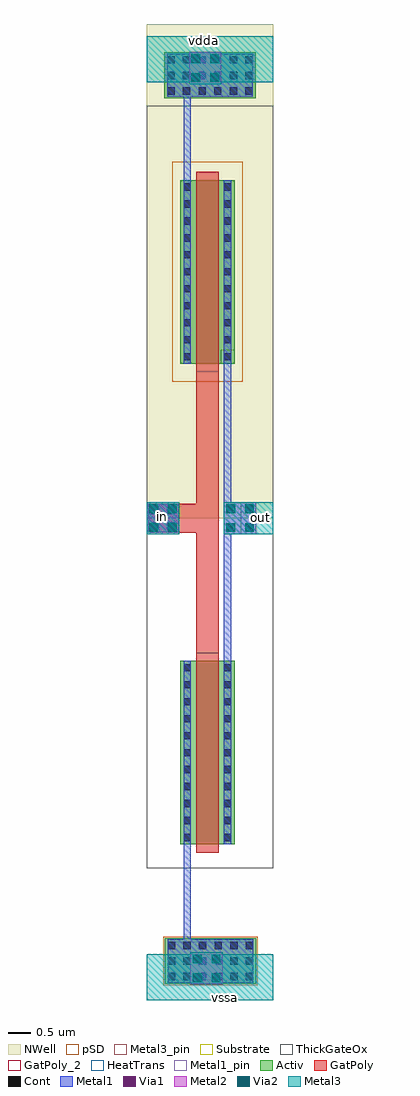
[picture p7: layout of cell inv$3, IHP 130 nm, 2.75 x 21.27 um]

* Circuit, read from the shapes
.subckt inv$3 in out vdda vssa
XM1 out in vssa vssa sg13_hv_nmos w=4u l=0.5u
XM2 out in vdda vdda sg13_hv_pmos w=4u l=0.5u
.ends

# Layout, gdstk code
import gdstk
lib = gdstk.Library(unit=1e-6, precision=1e-09)
def R(c, l, rs):  # rectangles x0, y0, x1, y1
    for r in rs: c.add(gdstk.rectangle(r[:2], r[2:], *l))
def A(c, l, x, y, w, h, nx, ny, dx, dy):  # array of equal rectangles
    R(c, l, [(x+i*dx, y+j*dy, x+i*dx+w, y+j*dy+h) for i in range(nx) for j in range(ny)])
Activ = (1, 0)
GatPoly = (5, 0)
GatPoly_2 = (5, 2)
Cont = (6, 0)
Metal1 = (8, 0)
Metal1_pin = (8, 2)
Metal2 = (10, 0)
pSD = (14, 0)
Via1 = (19, 0)
Via2 = (29, 0)
Metal3 = (30, 0)
Metal3_pin = (30, 2)
NWell = (31, 0)
Substrate = (40, 0)
ThickGateOx = (44, 0)
HeatTrans = (51, 0)

pmoshv_8 = lib.new_cell('pmosHV$8')
R(pmoshv_8, Activ, [(0,0,0.3,0.3), (0,0,1.18,4), (0.88,0,1.18,0.3)])
R(pmoshv_8, GatPoly, [(0.34,-0.18,0.84,4.18)])
R(pmoshv_8, GatPoly_2, [(0.34,-0.18,0.84,4.18)])
A(pmoshv_8, Cont, 0.07, 0.07, 0.16, 0.16, 1, 11, 0, 0.37)
A(pmoshv_8, Cont, 0.95, 0.07, 0.16, 0.16, 1, 11, 0, 0.37)
R(pmoshv_8, Metal1, [(0.07,0,0.23,4), (0.95,0,1.11,4)])
R(pmoshv_8, Metal1_pin, [(0.07,0,0.23,4), (0.95,0,1.11,4)])
R(pmoshv_8, pSD, [(-0.18,-0.4,1.36,4.4)])
R(pmoshv_8, NWell, [(-0.62,-0.62,1.8,4.62)])
R(pmoshv_8, Substrate, [(0.88,0,1.18,0.3)])
R(pmoshv_8, ThickGateOx, [(-0.62,-0.62,1.8,4.62)])
R(pmoshv_8, HeatTrans, [(0.34,-0.18,0.84,4.18)])
pmoshv_8.add(gdstk.Label('pmosHV', (0.59,2), layer=63, texttype=0))
pmoshv_8.add(gdstk.Label('pmos', (0.59,2), layer=51, texttype=0))

via_stack_14_1 = lib.new_cell('via_stack$14$1')
R(via_stack_14_1, GatPoly, [(-0.32,-0.32,0.32,0.32)])
R(via_stack_14_1, Cont, [(-0.25,-0.25,-0.09,-0.09), (0.09,-0.25,0.25,-0.09), (-0.25,0.09,-0.09,0.25), (0.09,0.09,0.25,0.25)])
R(via_stack_14_1, Metal1, [(-0.35,-0.31,0.35,0.31)])
R(via_stack_14_1, Metal2, [(-0.35,-0.305,0.35,0.305)])
R(via_stack_14_1, Via1, [(-0.3,-0.3,-0.11,-0.11), (0.11,-0.3,0.3,-0.11), (-0.3,0.11,-0.11,0.3), (0.11,0.11,0.3,0.3)])
R(via_stack_14_1, Via2, [(-0.3,-0.3,-0.11,-0.11), (0.11,-0.3,0.3,-0.11), (-0.3,0.11,-0.11,0.3), (0.11,0.11,0.3,0.3)])
R(via_stack_14_1, Metal3, [(-0.35,-0.305,0.35,0.305)])

via_stack_17 = lib.new_cell('via_stack$17')
R(via_stack_17, Metal1, [(-0.35,-0.35,0.35,0.35)])
R(via_stack_17, Metal2, [(-0.35,-0.35,0.35,0.35)])
R(via_stack_17, Via1, [(-0.3,-0.3,-0.11,-0.11), (0.11,-0.3,0.3,-0.11), (-0.3,0.11,-0.11,0.3), (0.11,0.11,0.3,0.3)])
R(via_stack_17, Via2, [(-0.3,-0.3,-0.11,-0.11), (0.11,-0.3,0.3,-0.11), (-0.3,0.11,-0.11,0.3), (0.11,0.11,0.3,0.3)])
R(via_stack_17, Metal3, [(-0.35,-0.35,0.35,0.35)])

ntap1_5 = lib.new_cell('ntap1$5')
R(ntap1_5, Activ, [(0,0,2,1)])
A(ntap1_5, Cont, 0.07, 0.08, 0.16, 0.16, 6, 3, 0.34, 0.34)
R(ntap1_5, Metal1, [(0.07,0.03,1.93,0.97)])
R(ntap1_5, Metal1_pin, [(0.07,0.03,1.93,0.97), (0.07,0.08,1.93,0.92)])
R(ntap1_5, NWell, [(-0.24,-0.24,2.24,1.24), (0,0,2,1)])

ptap1_8 = lib.new_cell('ptap1$8')
R(ptap1_8, Activ, [(0,0,2,1)])
A(ptap1_8, Cont, 0.07, 0.08, 0.16, 0.16, 6, 3, 0.34, 0.34)
R(ptap1_8, Metal1, [(0.07,0.03,1.93,0.97), (0.07,0.08,1.93,0.92)])
R(ptap1_8, Metal1_pin, [(0.07,0.08,1.93,0.92)])
R(ptap1_8, pSD, [(-0.03,-0.03,2.03,1.03)])
R(ptap1_8, Substrate, [(0,0,2,1)])

nmoshv_8 = lib.new_cell('nmosHV$8')
R(nmoshv_8, Activ, [(0,0,0.3,0.3), (0,0,1.18,4), (0.88,0,1.18,0.3)])
R(nmoshv_8, GatPoly, [(0.34,-0.18,0.84,4.18)])
R(nmoshv_8, GatPoly_2, [(0.34,-0.18,0.84,4.18)])
A(nmoshv_8, Cont, 0.07, 0.07, 0.16, 0.16, 1, 11, 0, 0.37)
A(nmoshv_8, Cont, 0.95, 0.07, 0.16, 0.16, 1, 11, 0, 0.37)
R(nmoshv_8, Metal1, [(0.07,0,0.23,4), (0.95,0,1.11,4)])
R(nmoshv_8, Metal1_pin, [(0.07,0,0.23,4), (0.95,0,1.11,4)])
R(nmoshv_8, ThickGateOx, [(-0.27,-0.52,1.45,4.52)])
R(nmoshv_8, HeatTrans, [(0.34,-0.18,0.84,4.18)])
nmoshv_8.add(gdstk.Label('nmosHV', (0.59,2), layer=63, texttype=0))
nmoshv_8.add(gdstk.Label('nmosHV', (0.59,2), layer=51, texttype=0))

inv_3 = lib.new_cell('inv$3')
R(inv_3, GatPoly, [(1.07,5.48,1.57,14.495), (0.03,9.68,1.07,10.32)])
R(inv_3, Metal1, [(0.8,-0.12,0.96,5.555), (1.68,2.89,1.84,17.37), (0.8,14.37,0.96,20.12)])
R(inv_3, Metal3, [(0,-0.5,2.75,0.5), (0,9.65,0.7,10.35), (0,19.5,2.75,20.5)])
R(inv_3, Metal3_pin, [(0,-0.5,2.75,0.5), (0,9.65,0.7,10.35), (2.05,9.65,2.75,10.35), (0,19.5,2.75,20.5)])
R(inv_3, NWell, [(0,10,2.75,20.77)])
R(inv_3, ThickGateOx, [(0,2.37,2.75,18.99)])
inv_3.add(gdstk.FlexPath([(1.68,10),(2.75,10),(2.75,10)], 0.7, ends="flush", simple_path=True, layer=30, datatype=0))  # Metal3
inv_3.add(gdstk.Reference(pmoshv_8, (0.73,13.37)))
inv_3.add(gdstk.Reference(via_stack_14_1, (0.35,10)))
inv_3.add(gdstk.Reference(via_stack_17, (2.03,10)))
inv_3.add(gdstk.Reference(via_stack_17, (1.27,19.81)))
inv_3.add(gdstk.Reference(via_stack_17, (1.3,0.19)))
r = gdstk.Reference(ntap1_5, (0.375,19.15)); r.repetition = gdstk.Repetition(1, 1, v1=(0,0), v2=(0,0)); inv_3.add(r)
r = gdstk.Reference(ptap1_8, (0.385,-0.15)); r.repetition = gdstk.Repetition(1, 1, v1=(0,0), v2=(0,0)); inv_3.add(r)
inv_3.add(gdstk.Reference(nmoshv_8, (0.73,2.89)))
inv_3.add(gdstk.Label('vdda', (1.234,20.419), layer=30, texttype=25))
inv_3.add(gdstk.Label('vssa', (1.698,-0.452), layer=30, texttype=25))
inv_3.add(gdstk.Label('out', (2.465,10.02), layer=30, texttype=25))
inv_3.add(gdstk.Label('in', (0.35,10.04), layer=30, texttype=25))

lib.write_gds('inv_3.gds')
